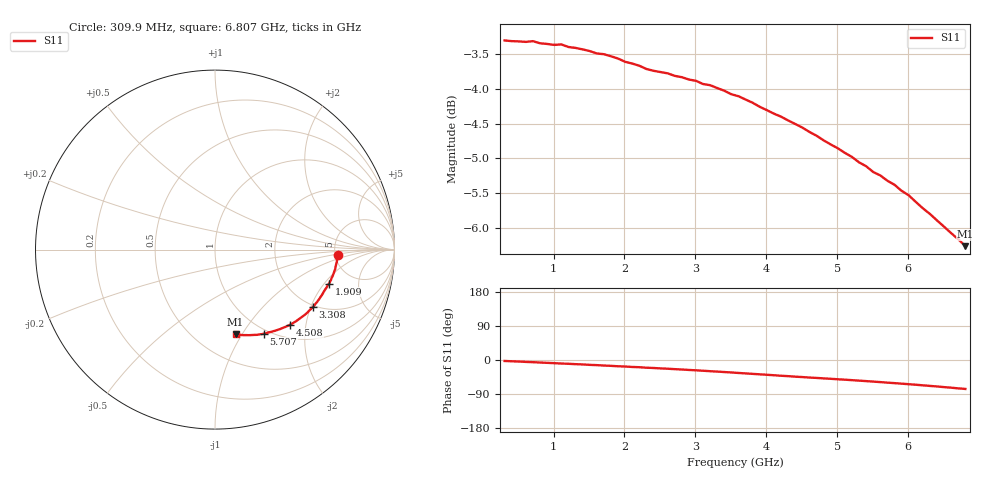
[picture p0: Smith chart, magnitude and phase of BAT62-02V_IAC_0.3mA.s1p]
! Infineon Technologies  Discrete & RF Semiconductors
! BAT62-02V
! IAC = 0.3 mA
! One-Port S-Parameters
# Hz  S  MA  R  50
!f  S11
!Hz  Mag  Ang
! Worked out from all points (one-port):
!   66 points, 309.9 MHz to 6.807 GHz, reference 50 ohm
!   lowest |S11| = -6.3 dB at 6.807 GHz (marker M1), VSWR 2.89, Z = 37.9 - j46.9 ohm
!   |S11| at or under -10 dB: nowhere
!   S11 on the Smith chart (normalised r, x): 309.9 MHz: 5.24, -0.60; 1.909 GHz: 3.32, -2.25; 3.308 GHz: 1.93, -2.06; 4.508 GHz: 1.27, -1.63; 5.707 GHz: 0.94, -1.25; 6.807 GHz: 0.76, -0.94
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3.0985e8  0.6833 -2.5
7.0965e8  0.6825 -5.7
1.10945e9  0.6788 -9.3
1.2094e9  0.676 -10.0
1.4093e9  0.6733 -11.7
1.50925e9  0.6714 -12.9
1.6092e9  0.6688 -13.5
1.70915e9  0.668 -14.6
1.8091e9  0.6657 -15.4
1.90905e9  0.6632 -16.6
2.009e9  0.6596 -17.1
2.10895e9  0.6577 -18.4
2.2089e9  0.6554 -19.0
2.30885e9  0.6519 -20.3
2.4088e9  0.6499 -21.1
2.8086e9  0.6431 -25.1
3.0085e9  0.6392 -27.2
3.30835e9  0.6316 -30.6
3.6082e9  0.6231 -34.2
4.2079e9  0.6025 -41.6
4.4078e9  0.5952 -44.0
4.50775e9  0.5917 -45.0
4.8076e9  0.5793 -48.6
5.2074e9  0.5636 -53.2
5.70715e9  0.5419 -59.7
6.007e9  0.5291 -63.9
6.50675e9  0.5022 -71.6
6.8066e9  0.4864 -76.4
